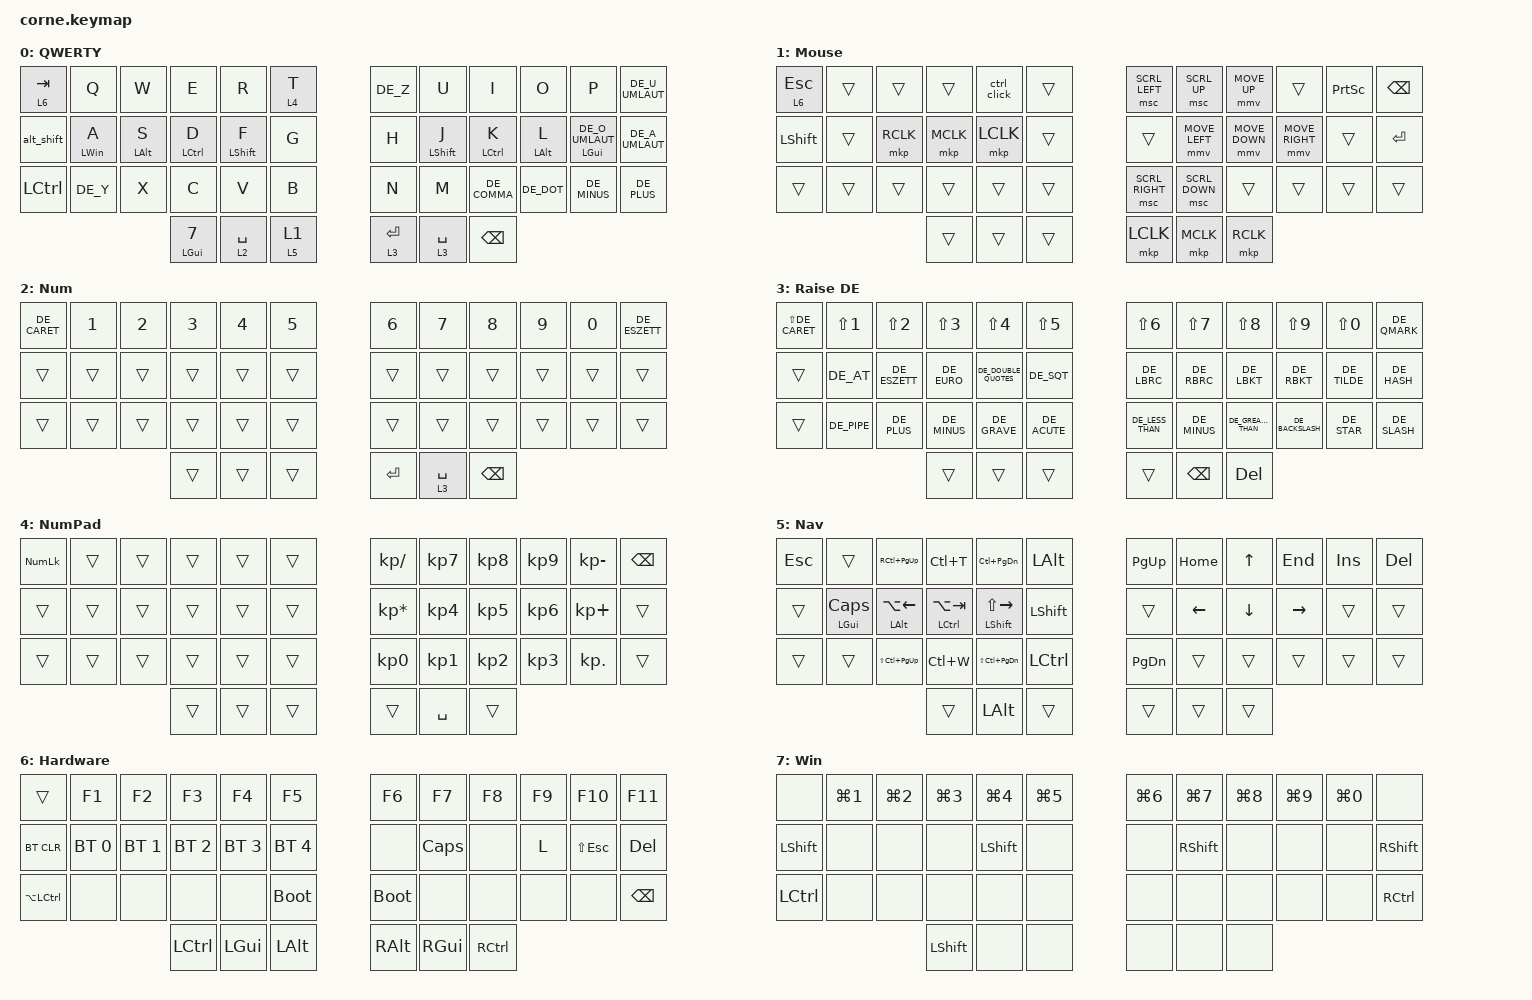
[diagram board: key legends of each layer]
/*
 * Copyright (c) 2020 The ZMK Contributors
 *
 * SPDX-License-Identifier: MIT
 */

#ifndef KEYMAP_DRAWER

#include "keys_de.h"
#include "keys_ru.h"

#endif

#include <behaviors.dtsi>
#include <dt-bindings/zmk/bt.h>
#include <dt-bindings/zmk/keys.h>
#include <dt-bindings/zmk/pointing.h>

/ {
    behaviors {
        ht_1_mouse: behavior_hold_tap {
            compatible = "zmk,behavior-hold-tap";
            display-name = "1_MOUSE";
            bindings = <&mo>, <&td_mouse>;

            #binding-cells = <2>;
            tapping-term-ms = <200>;
            hold-while-undecided;
        };

        td_mouse: behavior_tap_dance {
            compatible = "zmk,behavior-tap-dance";
            display-name = "TD_MOUSE";
            #binding-cells = <0>;
            bindings = <&none>, <&to 3>;
        };

        td_l1_mouse: td_l1_mouse {
            compatible = "zmk,behavior-tap-dance";
            display-name = "TD_L1_MOUSE";
            #binding-cells = <0>;
            bindings = <&mo 0>, <&to 3>;
        };

        ml_tog: behavior_mo_layer_tog_layer {
            compatible = "zmk,behavior-hold-tap";
            display-name = "ML_TOG";
            #binding-cells = <2>;
            flavor = "hold-preferred";
            tapping-term-ms = <200>; // Adjust this to your typing speed
            quick-tap-ms = <175>; // Enables "quick tap" for double-tap
            bindings = <&mo>, <&tog>;
        };

        td_reset: td_reset {
            compatible = "zmk,behavior-tap-dance";
            display-name = "Reset Type Dance";
            #binding-cells = <0>;
            bindings = <&sys_reset>, <&bootloader>;
        };

        hold_tog: hold_tog {
            compatible = "zmk,behavior-hold-tap";
            display-name = "Hold toggle";
            bindings = <&kp>, <&tog>;

            #binding-cells = <2>;
            tapping-term-ms = <200>;
        };

        hml: hml {
            compatible = "zmk,behavior-hold-tap";
            display-name = "Home Mod Left";
            bindings = <&kp>, <&kp>;

            #binding-cells = <2>;
            hold-trigger-key-positions = <18 6 7 8 9 10 11 23 22 21 20 19 30 31 32 33 34 35>;
            tapping-term-ms = <280>;
            quick-tap-ms = <175>;
            require-prior-idle-ms = <150>;
            flavor = "balanced";
            hold-trigger-on-release;
        };

        hmr: hmr {
            compatible = "zmk,behavior-hold-tap";
            display-name = "Home Mod Right";
            bindings = <&kp>, <&kp>;

            #binding-cells = <2>;
            tapping-term-ms = <280>;
            quick-tap-ms = <175>;
            require-prior-idle-ms = <150>;
            flavor = "balanced";
            hold-trigger-on-release;
            hold-trigger-key-positions = <0 1 2 3 4 5 12 13 14 15 16 17 24 25 26 27 28 29>;
        };

        hlt: hlt {
            compatible = "zmk,behavior-hold-tap";
            display-name = "Home layer tap";
            bindings = <&mo>, <&kp>;

            #binding-cells = <2>;
            tapping-term-ms = <280>;
            quick-tap-ms = <175>;
            require-prior-idle-ms = <150>;
            flavor = "balanced";
        };

        sll: sll {
            compatible = "zmk,behavior-sticky-key";
            label = "SLL";
            bindings = <&mo>;
            #binding-cells = <1>;
            release-after-ms = <1000>;
        };

        hkp_tsl: hkp_tsl {
            compatible = "zmk,behavior-hold-tap";
            display-name = "Tap / Sticky layer";
            bindings = <&kp>, <&sll>;

            #binding-cells = <2>;
            tapping-term-ms = <280>;
            quick-tap-ms = <175>;
            require-prior-idle-ms = <150>;
            flavor = "balanced";
            label = "Tap / Sticky layer";
        };
    };

    macros {
        alt_shift: alt_shift {
            compatible = "zmk,behavior-macro";
            display-name = "Alt+Shift";
            #binding-cells = <0>;
            bindings =
                <&macro_press>,
                <&kp LALT>,
                <&macro_tap>,
                <&kp LSHIFT>,
                <&macro_release>,
                <&kp LALT>;
        };

        ctrl_click: ctrl_click {
            compatible = "zmk,behavior-macro";
            #binding-cells = <0>;
            bindings =
                <&macro_press>,
                <&kp LCTRL>,
                <&macro_tap>,
                <&mkp LCLK>,
                <&macro_release>,
                <&kp LCTRL>;

            label = "CTRL_CLICK";
        };
    };

    combos {
        compatible = "zmk,combos";

        cmb_esc {
            bindings = <&kp ESC>;
            key-positions = <0 1>;
            slow-release;
        };

        cmb_backspace {
            bindings = <&kp BACKSPACE>;
            key-positions = <10 11>;
            slow-release;
        };

        cmb_enter {
            bindings = <&kp ENTER>;
            key-positions = <22 23>;
            slow-release;
        };
    };

    keymap {
        compatible = "zmk,keymap";

        default_layer {
            display-name = "QWERTY";
            bindings = <
&hlt 6 TAB  &kp Q            &kp W        &kp E            &kp R         &hlt 4 T       &kp DE_Z      &kp U          &kp I         &kp O        &kp P                  &kp DE_U_UMLAUT
&alt_shift  &hml LEFT_WIN A  &hml LALT S  &hml LCTRL D     &hml LSHFT F  &kp G          &kp H         &hmr LSHIFT J  &hmr LCTRL K  &hmr LALT L  &hmr LGUI DE_O_UMLAUT  &kp DE_A_UMLAUT
&kp LCTRL   &kp DE_Y         &kp X        &kp C            &kp V         &kp B          &kp N         &kp M          &kp DE_COMMA  &kp DE_DOT   &kp DE_MINUS           &kp DE_PLUS
                                          &hkp_tsl LGUI 7  &hlt 2 SPACE  &ml_tog 5 1    &hlt 3 ENTER  &hlt 3 SPACE   &kp BSPC
            >;
        };

        mouse {
            bindings = <
&hlt 6 ESCAPE  &trans  &trans     &trans     &ctrl_click  &trans    &msc SCRL_LEFT   &msc SCRL_UP    &mmv MOVE_UP    &trans           &kp PRINTSCREEN  &kp BACKSPACE
&kp LSHFT      &trans  &mkp RCLK  &mkp MCLK  &mkp LCLK    &trans    &trans           &mmv MOVE_LEFT  &mmv MOVE_DOWN  &mmv MOVE_RIGHT  &trans           &kp ENTER
&trans         &trans  &trans     &trans     &trans       &trans    &msc SCRL_RIGHT  &msc SCRL_DOWN  &trans          &trans           &trans           &trans
                                  &trans     &trans       &trans    &mkp LCLK        &mkp MCLK       &mkp RCLK
            >;

            display-name = "Mouse";
        };

        f_num {
            display-name = "Num";
            bindings = <
&kp DE_CARET  &kp N1  &kp N2  &kp N3  &kp N4  &kp N5    &kp N6     &kp N7        &kp N8    &kp N9  &kp N0  &kp DE_ESZETT
&trans        &trans  &trans  &trans  &trans  &trans    &trans     &trans        &trans    &trans  &trans  &trans
&trans        &trans  &trans  &trans  &trans  &trans    &trans     &trans        &trans    &trans  &trans  &trans
                              &trans  &trans  &trans    &kp ENTER  &hlt 3 SPACE  &kp BSPC
            >;
        };

        raise_layer {
            display-name = "Raise DE";
            bindings = <
&kp LS(DE_CARET)  &kp LS(N1)   &kp LS(N2)     &kp LS(N3)    &kp LS(N4)            &kp LS(N5)      &kp LS(N6)        &kp LS(N7)     &kp LS(N8)           &kp LS(N9)        &kp LS(N0)    &kp DE_QMARK
&trans            &kp DE_AT    &kp DE_ESZETT  &kp DE_EURO   &kp DE_DOUBLE_QUOTES  &kp DE_SQT      &kp DE_LBRC       &kp DE_RBRC    &kp DE_LBKT          &kp DE_RBKT       &kp DE_TILDE  &kp DE_HASH
&trans            &kp DE_PIPE  &kp DE_PLUS    &kp DE_MINUS  &kp DE_GRAVE          &kp DE_ACUTE    &kp DE_LESS_THAN  &kp DE_MINUS   &kp DE_GREATER_THAN  &kp DE_BACKSLASH  &kp DE_STAR   &kp DE_SLASH
                                              &trans        &trans                &trans          &trans            &kp BACKSPACE  &kp DELETE
            >;
        };

        numpad {
            bindings = <
&kp KP_NUM  &trans  &trans  &trans  &trans  &trans    &kp KP_DIVIDE    &kp KP_N7  &kp KP_N8  &kp KP_N9  &kp KP_SUBTRACT  &kp BACKSPACE
&trans      &trans  &trans  &trans  &trans  &trans    &kp KP_ASTERISK  &kp KP_N4  &kp KP_N5  &kp KP_N6  &kp KP_PLUS      &trans
&trans      &trans  &trans  &trans  &trans  &trans    &kp KP_N0        &kp KP_N1  &kp KP_N2  &kp KP_N3  &kp KP_DOT       &trans
                            &trans  &trans  &trans    &trans           &kp SPACE  &trans
            >;

            display-name = "NumPad";
        };

        nav {
            display-name = "Nav";
            bindings = <
&kp ESCAPE  &trans          &kp RC(PAGE_UP)      &kp LC(T)           &kp LC(PAGE_DOWN)      &kp LALT     &kp PG_UP  &kp HOME  &kp UP    &kp END    &kp INS  &kp DEL
&trans      &hml LGUI CAPS  &hml LALT LA(LEFT)   &hml LCTRL LA(TAB)  &hml LSHFT LS(RIGHT)   &kp LSHFT    &trans     &kp LEFT  &kp DOWN  &kp RIGHT  &trans   &trans
&trans      &trans          &kp LS(LC(PAGE_UP))  &kp LC(W)           &kp LS(LC(PAGE_DOWN))  &kp LCTRL    &kp PG_DN  &trans    &trans    &trans     &trans   &trans
                                                 &trans              &kp LALT               &trans       &trans     &trans    &trans
            >;
        };

        hardware {
            display-name = "Hardware";
            bindings = <
&trans         &kp F1        &kp F2        &kp F3        &kp F4        &kp F5          &kp F6       &kp F7    &kp F8     &kp F9  &kp F10         &kp F11
&bt BT_CLR     &bt BT_SEL 0  &bt BT_SEL 1  &bt BT_SEL 2  &bt BT_SEL 3  &bt BT_SEL 4    &none        &kp CAPS  &none      &kp L   &kp LS(ESCAPE)  &kp DELETE
&kp LA(LCTRL)  &none         &none         &none         &none         &bootloader     &bootloader  &none     &none      &none   &none           &kp BACKSPACE
                                           &kp LCTRL     &kp LGUI      &kp LALT        &kp RALT     &kp RGUI  &kp RCTRL
            >;
        };

        win {
            display-name = "Win";
            bindings = <
&none      &kp LG(N1)  &kp LG(N2)  &kp LG(N3)  &kp LG(N4)  &kp LG(N5)    &kp LG(N6)  &kp LG(N7)  &kp LG(N8)  &kp LG(N9)  &kp LG(N0)  &none
&kp LSHFT  &none       &none       &none       &kp LSHFT   &none         &none       &kp RSHFT   &none       &none       &none       &kp RSHIFT
&kp LCTRL  &none       &none       &none       &none       &none         &none       &none       &none       &none       &none       &kp RCTRL
                                   &kp LSHFT   &none       &none         &none       &none       &none
            >;
        };
    };
};
